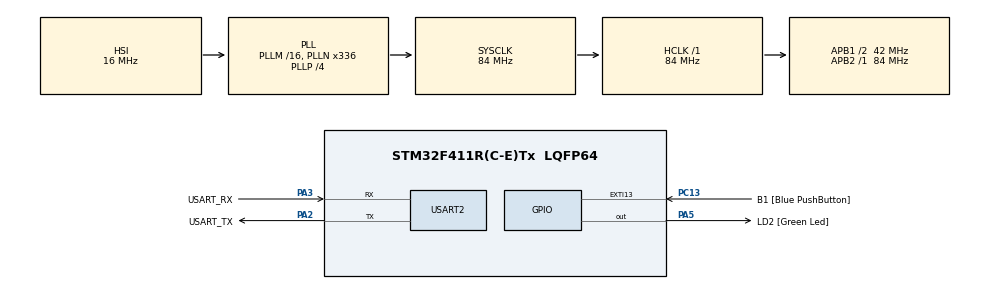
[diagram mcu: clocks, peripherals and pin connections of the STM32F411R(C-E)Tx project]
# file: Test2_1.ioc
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Mcu.Family=STM32F4
Mcu.Name=STM32F411R(C-E)Tx
Mcu.Package=LQFP64
NVIC.PriorityGroup=NVIC_PRIORITYGROUP_0
NVIC.USART2_IRQn=true\:0\:0\:false\:false\:true\:true\:true\:true
PA13.GPIO_Label=TMS
PA13.Mode=Serial_Wire
PA13.Signal=SYS_JTMS-SWDIO
PA14.GPIO_Label=TCK
PA14.Mode=Serial_Wire
PA14.Signal=SYS_JTCK-SWCLK
PA2.GPIO_Label=USART_TX
PA2.Mode=Asynchronous
PA2.Signal=USART2_TX
PA3.GPIO_Label=USART_RX
PA3.Mode=Asynchronous
PA3.Signal=USART2_RX
PA5.GPIO_Label=LD2 [Green Led]
PA5.Signal=GPIO_Output
PB3.GPIO_Label=SWO
PB3.Signal=SYS_JTDO-SWO
PC13-ANTI_TAMP.GPIO_Label=B1 [Blue PushButton]
PC13-ANTI_TAMP.GPIO_ModeDefaultEXTI=GPIO_MODE_IT_FALLING
PC13-ANTI_TAMP.Signal=GPXTI13
PC14-OSC32_IN.Mode=LSE-External-Oscillator
PC14-OSC32_IN.Signal=RCC_OSC32_IN
PC15-OSC32_OUT.Mode=LSE-External-Oscillator
PC15-OSC32_OUT.Signal=RCC_OSC32_OUT
PH0\ -\ OSC_IN.Mode=HSE-External-Clock-Source
PH0\ -\ OSC_IN.Signal=RCC_OSC_IN
PH1\ -\ OSC_OUT.Mode=HSE-External-Clock-Source
PH1\ -\ OSC_OUT.Signal=RCC_OSC_OUT
ProjectManager.HeapSize=0x200
ProjectManager.StackSize=0x400
ProjectManager.TargetToolchain=STM32CubeIDE
RCC.48MHZClocksFreq_Value=84000000
RCC.AHBFreq_Value=84000000
RCC.APB1CLKDivider=RCC_HCLK_DIV2
RCC.APB1Freq_Value=42000000
RCC.APB1TimFreq_Value=84000000
RCC.APB2Freq_Value=84000000
RCC.APB2TimFreq_Value=84000000
RCC.CortexFreq_Value=84000000
RCC.FLatency-AdvancedSettings=FLASH_LATENCY_2
RCC.HCLKFreq_Value=84000000
RCC.HSE_VALUE=8000000
RCC.HSI_VALUE=16000000
RCC.PLLN=336
RCC.PLLP=RCC_PLLP_DIV4
RCC.SYSCLKFreq_VALUE=84000000
RCC.SYSCLKSource=RCC_SYSCLKSOURCE_PLLCLK
RCC.VCOOutputFreq_Value=336000000
USART2.VirtualMode=VM_ASYNC
board=NUCLEO-F411RE

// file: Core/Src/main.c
/* USER CODE BEGIN Header */
/**
  ******************************************************************************
  * @file           : main.c
  * @brief          : Main program body
  ******************************************************************************
  * @attention
  *
  * Copyright (c) 2023 STMicroelectronics.
  * All rights reserved.
  *
  * This software is licensed under terms that can be found in the LICENSE file
  * in the root directory of this software component.
  * If no LICENSE file comes with this software, it is provided AS-IS.
  *
  ******************************************************************************
  */
/* USER CODE END Header */
#include "main.h"

UART_HandleTypeDef huart2;

void SystemClock_Config(void);
static void MX_GPIO_Init(void);
static void MX_USART2_UART_Init(void);

/* USER CODE BEGIN 0 */
uint8_t data[35],buffer;
int cou=0;
/* USER CODE END 0 */

int main(void)
{

  /* MCU Configuration--------------------------------------------------------*/

  /* Reset of all peripherals, Initializes the Flash interface and the Systick. */
  HAL_Init();

  /* Configure the system clock */
  SystemClock_Config();

  /* Initialize all configured peripherals */
  MX_GPIO_Init();
  MX_USART2_UART_Init();
  /* USER CODE BEGIN 2 */
  HAL_UART_Receive_IT(&huart2, &buffer, 1);
  /* USER CODE END 2 */

  /* Infinite loop */
  /* USER CODE BEGIN WHILE */
  while (1)
  {
	  HAL_GPIO_TogglePin(GPIOA, GPIO_PIN_5);
	  HAL_Delay(100);
    /* USER CODE END WHILE */

  }
}

void SystemClock_Config(void)
{
  RCC_OscInitTypeDef RCC_OscInitStruct = {0};
  RCC_ClkInitTypeDef RCC_ClkInitStruct = {0};

  /** Configure the main internal regulator output voltage
  */
  __HAL_RCC_PWR_CLK_ENABLE();
  __HAL_PWR_VOLTAGESCALING_CONFIG(PWR_REGULATOR_VOLTAGE_SCALE1);

  /** Initializes the RCC Oscillators according to the specified parameters
  * in the RCC_OscInitTypeDef structure.
  */
  RCC_OscInitStruct.OscillatorType = RCC_OSCILLATORTYPE_HSI;
  RCC_OscInitStruct.HSIState = RCC_HSI_ON;
  RCC_OscInitStruct.HSICalibrationValue = RCC_HSICALIBRATION_DEFAULT;
  RCC_OscInitStruct.PLL.PLLState = RCC_PLL_ON;
  RCC_OscInitStruct.PLL.PLLSource = RCC_PLLSOURCE_HSI;
  RCC_OscInitStruct.PLL.PLLM = 16;
  RCC_OscInitStruct.PLL.PLLN = 336;
  RCC_OscInitStruct.PLL.PLLP = RCC_PLLP_DIV4;
  RCC_OscInitStruct.PLL.PLLQ = 4;
  if (HAL_RCC_OscConfig(&RCC_OscInitStruct) != HAL_OK)
  {
    Error_Handler();
  }

  /** Initializes the CPU, AHB and APB buses clocks
  */
  RCC_ClkInitStruct.ClockType = RCC_CLOCKTYPE_HCLK|RCC_CLOCKTYPE_SYSCLK
                              |RCC_CLOCKTYPE_PCLK1|RCC_CLOCKTYPE_PCLK2;
  RCC_ClkInitStruct.SYSCLKSource = RCC_SYSCLKSOURCE_PLLCLK;
  RCC_ClkInitStruct.AHBCLKDivider = RCC_SYSCLK_DIV1;
  RCC_ClkInitStruct.APB1CLKDivider = RCC_HCLK_DIV2;
  RCC_ClkInitStruct.APB2CLKDivider = RCC_HCLK_DIV1;

  if (HAL_RCC_ClockConfig(&RCC_ClkInitStruct, FLASH_LATENCY_2) != HAL_OK)
  {
    Error_Handler();
  }
}

static void MX_USART2_UART_Init(void)
{

  huart2.Instance = USART2;
  huart2.Init.BaudRate = 115200;
  huart2.Init.WordLength = UART_WORDLENGTH_8B;
  huart2.Init.StopBits = UART_STOPBITS_1;
  huart2.Init.Parity = UART_PARITY_NONE;
  huart2.Init.Mode = UART_MODE_TX_RX;
  huart2.Init.HwFlowCtl = UART_HWCONTROL_NONE;
  huart2.Init.OverSampling = UART_OVERSAMPLING_16;
  if (HAL_UART_Init(&huart2) != HAL_OK)
  {
    Error_Handler();
  }

}

static void MX_GPIO_Init(void)
{
  GPIO_InitTypeDef GPIO_InitStruct = {0};

  /* GPIO Ports Clock Enable */
  __HAL_RCC_GPIOC_CLK_ENABLE();
  __HAL_RCC_GPIOH_CLK_ENABLE();
  __HAL_RCC_GPIOA_CLK_ENABLE();
  __HAL_RCC_GPIOB_CLK_ENABLE();

  /*Configure GPIO pin Output Level */
  HAL_GPIO_WritePin(LD2_GPIO_Port, LD2_Pin, GPIO_PIN_RESET);

  /*Configure GPIO pin : B1_Pin */
  GPIO_InitStruct.Pin = B1_Pin;
  GPIO_InitStruct.Mode = GPIO_MODE_IT_FALLING;
  GPIO_InitStruct.Pull = GPIO_NOPULL;
  HAL_GPIO_Init(B1_GPIO_Port, &GPIO_InitStruct);

  /*Configure GPIO pin : LD2_Pin */
  GPIO_InitStruct.Pin = LD2_Pin;
  GPIO_InitStruct.Mode = GPIO_MODE_OUTPUT_PP;
  GPIO_InitStruct.Pull = GPIO_NOPULL;
  GPIO_InitStruct.Speed = GPIO_SPEED_FREQ_LOW;
  HAL_GPIO_Init(LD2_GPIO_Port, &GPIO_InitStruct);

}

/* USER CODE BEGIN 4 */
void HAL_UART_RxCpltCallback(UART_HandleTypeDef *huart)
{
    if(buffer != '\r' && buffer != '\n'){
    	data[cou] = buffer;
    	HAL_UART_Transmit(&huart2, &buffer , 1, 100);
    	cou += 1;
    }else{
    	HAL_UART_Transmit(&huart2, "\r\n" , 2, 100);
    	int i;
    	for(i=cou-1;i>=0;i--){
    		HAL_UART_Transmit(&huart2, &data[i] , 1, 100);
    	}
    	cou = 0;
    	HAL_UART_Transmit(&huart2, "\r\n" , 2, 100);
    }
    HAL_UART_Receive_IT (&huart2, &buffer, 1);
}
/* USER CODE END 4 */

void Error_Handler(void)
{
  __disable_irq();
  while (1)
  {
  }
}
